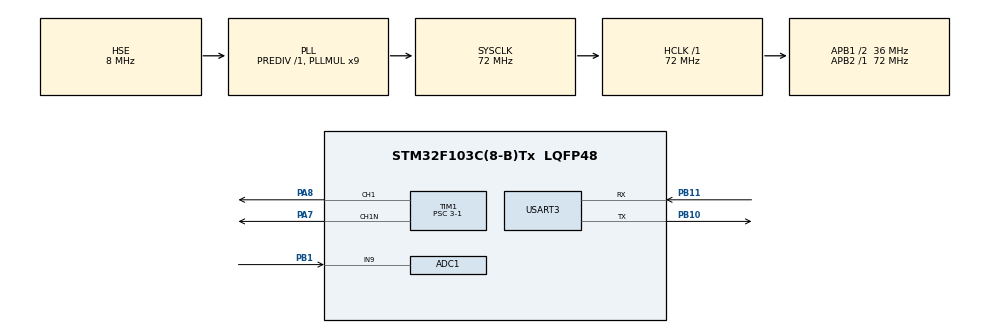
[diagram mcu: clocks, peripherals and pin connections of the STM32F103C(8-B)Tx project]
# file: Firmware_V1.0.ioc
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ADC1.Channel-3\#ChannelRegularConversion=ADC_CHANNEL_9
ADC1.NbrOfConversionFlag=1
ADC1.Rank-3\#ChannelRegularConversion=1
ADC1.SamplingTime-3\#ChannelRegularConversion=ADC_SAMPLETIME_1CYCLE_5
ADC1.master=1
Mcu.Family=STM32F1
Mcu.Name=STM32F103C(8-B)Tx
Mcu.Package=LQFP48
NVIC.PriorityGroup=NVIC_PRIORITYGROUP_4
NVIC.TIM1_UP_IRQn=true\:0\:0\:false\:false\:true\:true\:true\:true
PA7.Mode=PWM Generation1 CH1 CH1N
PA7.Signal=TIM1_CH1N
PA8.Signal=S_TIM1_CH1
PB1.Signal=ADCx_IN9
PB10.Mode=Asynchronous
PB10.Signal=USART3_TX
PB11.Mode=Asynchronous
PB11.Signal=USART3_RX
PD0-OSC_IN.Mode=HSE-External-Oscillator
PD0-OSC_IN.Signal=RCC_OSC_IN
PD1-OSC_OUT.Mode=HSE-External-Oscillator
PD1-OSC_OUT.Signal=RCC_OSC_OUT
ProjectManager.HeapSize=0x200
ProjectManager.StackSize=0x400
ProjectManager.TargetToolchain=STM32CubeIDE
RCC.ADCPresc=RCC_ADCPCLK2_DIV6
RCC.AHBFreq_Value=72000000
RCC.APB1CLKDivider=RCC_HCLK_DIV2
RCC.APB1Freq_Value=36000000
RCC.APB1TimFreq_Value=72000000
RCC.APB2Freq_Value=72000000
RCC.APB2TimFreq_Value=72000000
RCC.HCLKFreq_Value=72000000
RCC.PLLMUL=RCC_PLL_MUL9
RCC.PLLSourceVirtual=RCC_PLLSOURCE_HSE
RCC.SYSCLKFreq_VALUE=72000000
RCC.SYSCLKSource=RCC_SYSCLKSOURCE_PLLCLK
RCC.USBFreq_Value=48000000
RCC.USBPrescaler=RCC_USBCLKSOURCE_PLL_DIV1_5
SH.ADCx_IN9.0=ADC1_IN9,IN9
SH.S_TIM1_CH1.0=TIM1_CH1,PWM Generation1 CH1 CH1N
TIM1.Channel-PWM\ Generation1\ CH1\ CH1N=TIM_CHANNEL_1
TIM1.CounterMode=TIM_COUNTERMODE_CENTERALIGNED1
TIM1.DeadTime=144
TIM1.Period=1024
TIM1.Prescaler=3-1
USART3.VirtualMode=VM_ASYNC
board=custom

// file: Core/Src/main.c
/* USER CODE BEGIN Header */
/**
  ******************************************************************************
  * @file           : main.c
  * @brief          : Main program body
  ******************************************************************************
  * @attention
  *
  * Copyright (c) 2023 STMicroelectronics.
  * All rights reserved.
  *
  * This software is licensed under terms that can be found in the LICENSE file
  * in the root directory of this software component.
  * If no LICENSE file comes with this software, it is provided AS-IS.
  *
  ******************************************************************************
  */
/* USER CODE END Header */
#include "main.h"

/* USER CODE BEGIN Includes */
#include "Regelungstechnik_lib/Regelungstechnik.h"

/* USER CODE END Includes */

ADC_HandleTypeDef hadc1;

TIM_HandleTypeDef htim1;

UART_HandleTypeDef huart3;

/* USER CODE BEGIN PV */
PI PI1;
uint32_t adc_val;
float I_soll=1.0f;
const float TIM_dt=0.0001f;
uint8_t usart3_buffer[10];

/* USER CODE END PV */

void SystemClock_Config(void);
static void MX_GPIO_Init(void);
static void MX_ADC1_Init(void);
static void MX_TIM1_Init(void);
static void MX_USART3_UART_Init(void);

int main(void)
{

  /* MCU Configuration--------------------------------------------------------*/

  /* Reset of all peripherals, Initializes the Flash interface and the Systick. */
  HAL_Init();

  /* Configure the system clock */
  SystemClock_Config();

  /* Initialize all configured peripherals */
  MX_GPIO_Init();
  MX_ADC1_Init();
  MX_TIM1_Init();
  MX_USART3_UART_Init();
  /* USER CODE BEGIN 2 */
  //Starten des PWM Timers
  HAL_TIM_Base_Start_IT(&htim1);
  HAL_TIM_PWM_Start(&htim1, TIM_CHANNEL_1);
  HAL_TIMEx_PWMN_Start(&htim1, TIM_CHANNEL_1);
  //konfigurieren des PI-Reglers
#define KP 10.0f
#define KI 10.0
  config_PI(&PI1, KP, KI);
  /* USER CODE END 2 */

  /* Infinite loop */
  while (1)
  {

  }
}

void SystemClock_Config(void)
{
  RCC_OscInitTypeDef RCC_OscInitStruct = {0};
  RCC_ClkInitTypeDef RCC_ClkInitStruct = {0};
  RCC_PeriphCLKInitTypeDef PeriphClkInit = {0};

  /** Initializes the RCC Oscillators according to the specified parameters
  * in the RCC_OscInitTypeDef structure.
  */
  RCC_OscInitStruct.OscillatorType = RCC_OSCILLATORTYPE_HSE;
  RCC_OscInitStruct.HSEState = RCC_HSE_ON;
  RCC_OscInitStruct.HSEPredivValue = RCC_HSE_PREDIV_DIV1;
  RCC_OscInitStruct.HSIState = RCC_HSI_ON;
  RCC_OscInitStruct.PLL.PLLState = RCC_PLL_ON;
  RCC_OscInitStruct.PLL.PLLSource = RCC_PLLSOURCE_HSE;
  RCC_OscInitStruct.PLL.PLLMUL = RCC_PLL_MUL9;
  if (HAL_RCC_OscConfig(&RCC_OscInitStruct) != HAL_OK)
  {
    Error_Handler();
  }

  /** Initializes the CPU, AHB and APB buses clocks
  */
  RCC_ClkInitStruct.ClockType = RCC_CLOCKTYPE_HCLK|RCC_CLOCKTYPE_SYSCLK
                              |RCC_CLOCKTYPE_PCLK1|RCC_CLOCKTYPE_PCLK2;
  RCC_ClkInitStruct.SYSCLKSource = RCC_SYSCLKSOURCE_PLLCLK;
  RCC_ClkInitStruct.AHBCLKDivider = RCC_SYSCLK_DIV1;
  RCC_ClkInitStruct.APB1CLKDivider = RCC_HCLK_DIV2;
  RCC_ClkInitStruct.APB2CLKDivider = RCC_HCLK_DIV1;

  if (HAL_RCC_ClockConfig(&RCC_ClkInitStruct, FLASH_LATENCY_2) != HAL_OK)
  {
    Error_Handler();
  }
  PeriphClkInit.PeriphClockSelection = RCC_PERIPHCLK_ADC;
  PeriphClkInit.AdcClockSelection = RCC_ADCPCLK2_DIV6;
  if (HAL_RCCEx_PeriphCLKConfig(&PeriphClkInit) != HAL_OK)
  {
    Error_Handler();
  }
}

static void MX_ADC1_Init(void)
{

  ADC_ChannelConfTypeDef sConfig = {0};

  /** Common config
  */
  hadc1.Instance = ADC1;
  hadc1.Init.ScanConvMode = ADC_SCAN_DISABLE;
  hadc1.Init.ContinuousConvMode = DISABLE;
  hadc1.Init.DiscontinuousConvMode = DISABLE;
  hadc1.Init.ExternalTrigConv = ADC_SOFTWARE_START;
  hadc1.Init.DataAlign = ADC_DATAALIGN_RIGHT;
  hadc1.Init.NbrOfConversion = 1;
  if (HAL_ADC_Init(&hadc1) != HAL_OK)
  {
    Error_Handler();
  }

  /** Configure Regular Channel
  */
  sConfig.Channel = ADC_CHANNEL_9;
  sConfig.Rank = ADC_REGULAR_RANK_1;
  sConfig.SamplingTime = ADC_SAMPLETIME_1CYCLE_5;
  if (HAL_ADC_ConfigChannel(&hadc1, &sConfig) != HAL_OK)
  {
    Error_Handler();
  }

}

static void MX_TIM1_Init(void)
{

  TIM_MasterConfigTypeDef sMasterConfig = {0};
  TIM_OC_InitTypeDef sConfigOC = {0};
  TIM_BreakDeadTimeConfigTypeDef sBreakDeadTimeConfig = {0};

  htim1.Instance = TIM1;
  htim1.Init.Prescaler = 3-1;
  htim1.Init.CounterMode = TIM_COUNTERMODE_CENTERALIGNED1;
  htim1.Init.Period = 1024;
  htim1.Init.ClockDivision = TIM_CLOCKDIVISION_DIV1;
  htim1.Init.RepetitionCounter = 0;
  htim1.Init.AutoReloadPreload = TIM_AUTORELOAD_PRELOAD_DISABLE;
  if (HAL_TIM_PWM_Init(&htim1) != HAL_OK)
  {
    Error_Handler();
  }
  sMasterConfig.MasterOutputTrigger = TIM_TRGO_RESET;
  sMasterConfig.MasterSlaveMode = TIM_MASTERSLAVEMODE_DISABLE;
  if (HAL_TIMEx_MasterConfigSynchronization(&htim1, &sMasterConfig) != HAL_OK)
  {
    Error_Handler();
  }
  sConfigOC.OCMode = TIM_OCMODE_PWM1;
  sConfigOC.Pulse = 0;
  sConfigOC.OCPolarity = TIM_OCPOLARITY_HIGH;
  sConfigOC.OCNPolarity = TIM_OCNPOLARITY_HIGH;
  sConfigOC.OCFastMode = TIM_OCFAST_DISABLE;
  sConfigOC.OCIdleState = TIM_OCIDLESTATE_RESET;
  sConfigOC.OCNIdleState = TIM_OCNIDLESTATE_RESET;
  if (HAL_TIM_PWM_ConfigChannel(&htim1, &sConfigOC, TIM_CHANNEL_1) != HAL_OK)
  {
    Error_Handler();
  }
  sBreakDeadTimeConfig.OffStateRunMode = TIM_OSSR_DISABLE;
  sBreakDeadTimeConfig.OffStateIDLEMode = TIM_OSSI_DISABLE;
  sBreakDeadTimeConfig.LockLevel = TIM_LOCKLEVEL_OFF;
  sBreakDeadTimeConfig.DeadTime = 144;
  sBreakDeadTimeConfig.BreakState = TIM_BREAK_DISABLE;
  sBreakDeadTimeConfig.BreakPolarity = TIM_BREAKPOLARITY_HIGH;
  sBreakDeadTimeConfig.AutomaticOutput = TIM_AUTOMATICOUTPUT_DISABLE;
  if (HAL_TIMEx_ConfigBreakDeadTime(&htim1, &sBreakDeadTimeConfig) != HAL_OK)
  {
    Error_Handler();
  }
  HAL_TIM_MspPostInit(&htim1);

}

static void MX_USART3_UART_Init(void)
{

  huart3.Instance = USART3;
  huart3.Init.BaudRate = 115200;
  huart3.Init.WordLength = UART_WORDLENGTH_8B;
  huart3.Init.StopBits = UART_STOPBITS_1;
  huart3.Init.Parity = UART_PARITY_NONE;
  huart3.Init.Mode = UART_MODE_TX_RX;
  huart3.Init.HwFlowCtl = UART_HWCONTROL_NONE;
  huart3.Init.OverSampling = UART_OVERSAMPLING_16;
  if (HAL_UART_Init(&huart3) != HAL_OK)
  {
    Error_Handler();
  }

}

static void MX_GPIO_Init(void)
{

  /* GPIO Ports Clock Enable */
  __HAL_RCC_GPIOD_CLK_ENABLE();
  __HAL_RCC_GPIOA_CLK_ENABLE();
  __HAL_RCC_GPIOB_CLK_ENABLE();

}

/* USER CODE BEGIN 4 */
void HAL_TIM_PeriodElapsedCallback(TIM_HandleTypeDef *htim){

	if(htim->Instance == htim1.Instance){

			// Start ADC Conversion

			TIM1->CCR1=(int)(PI1.val);
			HAL_ADC_Start(&hadc1);
			HAL_ADC_PollForConversion(&hadc1, 1);
			adc_val=HAL_ADC_GetValue(&hadc1);
			float I_ist=((((float)(adc_val))-3103.0f)*(-1.0f))/155.15f;
			float I_error = I_soll-I_ist;
			add_val_PI(&PI1, I_error, TIM_dt);
			if(PI1.val >= 1024.0f){
				PI1.val=1024.0f;
			}else if(PI1.val <= 0.0f){
				PI1.val=0;
			}
			usart3_buffer[0]=100;
			HAL_UART_Transmit(&huart3, usart3_buffer, sizeof(usart3_buffer), 10);
	}
}

/* USER CODE END 4 */

void Error_Handler(void)
{
  __disable_irq();
  while (1)
  {
  }
}
